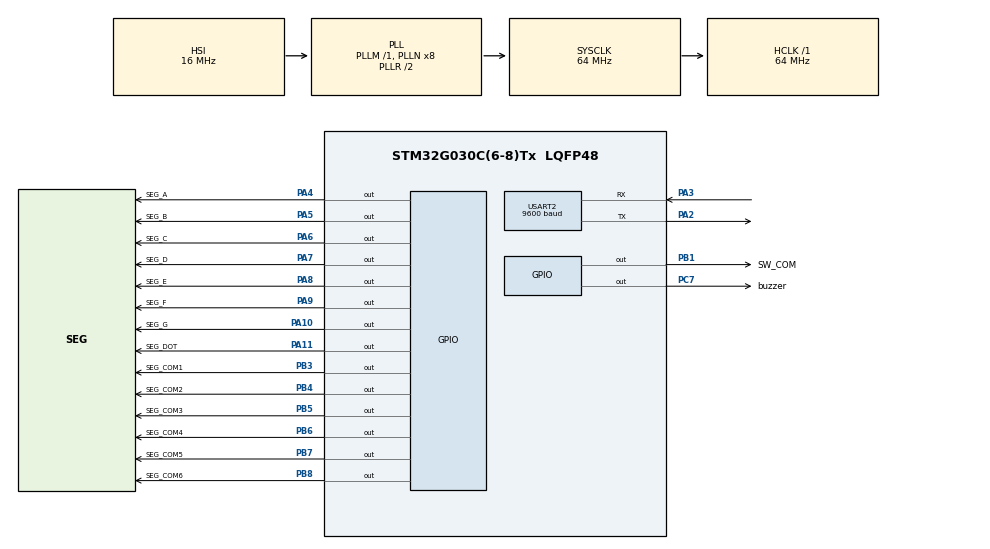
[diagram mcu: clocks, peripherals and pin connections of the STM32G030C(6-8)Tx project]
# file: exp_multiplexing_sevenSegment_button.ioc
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Mcu.Family=STM32G0
Mcu.Name=STM32G030C(6-8)Tx
Mcu.Package=LQFP48
NVIC.TIM14_IRQn=true\:0\:0\:false\:false\:true\:true\:true\:true
NVIC.TIM16_IRQn=true\:0\:0\:false\:false\:true\:true\:true\:true
NVIC.TIM3_IRQn=true\:0\:0\:false\:false\:true\:true\:true\:true
NVIC.USART2_IRQn=true\:0\:0\:false\:false\:true\:true\:true\:true
PA10.GPIO_Label=SEG_G
PA10.GPIO_PuPd=GPIO_NOPULL
PA10.Signal=GPIO_Output
PA11\ [PA9].GPIO_Label=SEG_DOT
PA11\ [PA9].GPIO_PuPd=GPIO_NOPULL
PA11\ [PA9].Signal=GPIO_Output
PA13.GPIO_Label=T_JTMS
PA13.Mode=Serial_Wire
PA13.Signal=SYS_SWDIO
PA14-BOOT0.GPIO_Label=T_JTCK
PA14-BOOT0.Mode=Serial_Wire
PA14-BOOT0.Signal=SYS_SWCLK
PA2.GPIO_PuPd=GPIO_PULLUP
PA2.Mode=Asynchronous
PA2.Signal=USART2_TX
PA3.GPIO_PuPd=GPIO_PULLUP
PA3.Mode=Asynchronous
PA3.Signal=USART2_RX
PA4.GPIO_Label=SEG_A
PA4.GPIO_PuPd=GPIO_NOPULL
PA4.Signal=GPIO_Output
PA5.GPIO_Label=SEG_B
PA5.GPIO_PuPd=GPIO_NOPULL
PA5.Signal=GPIO_Output
PA6.GPIO_Label=SEG_C
PA6.GPIO_PuPd=GPIO_NOPULL
PA6.Signal=GPIO_Output
PA7.GPIO_Label=SEG_D
PA7.GPIO_PuPd=GPIO_NOPULL
PA7.Signal=GPIO_Output
PA8.GPIO_Label=SEG_E
PA8.GPIO_PuPd=GPIO_NOPULL
PA8.Signal=GPIO_Output
PA9.GPIO_Label=SEG_F
PA9.GPIO_PuPd=GPIO_NOPULL
PA9.Signal=GPIO_Output
PB1.GPIO_Label=SW_COM
PB1.Signal=GPIO_Output
PB3.GPIO_Label=SEG_COM1
PB3.GPIO_PuPd=GPIO_NOPULL
PB3.Signal=GPIO_Output
PB4.GPIO_Label=SEG_COM2
PB4.GPIO_PuPd=GPIO_NOPULL
PB4.Signal=GPIO_Output
PB5.GPIO_Label=SEG_COM3
PB5.GPIO_PuPd=GPIO_NOPULL
PB5.Signal=GPIO_Output
PB6.GPIO_Label=SEG_COM4
PB6.GPIO_PuPd=GPIO_NOPULL
PB6.Signal=GPIO_Output
PB7.GPIO_Label=SEG_COM5
PB7.GPIO_PuPd=GPIO_NOPULL
PB7.Signal=GPIO_Output
PB8.GPIO_Label=SEG_COM6
PB8.GPIO_PuPd=GPIO_NOPULL
PB8.Signal=GPIO_Output
PC7.GPIO_Label=buzzer
PC7.GPIO_PuPd=GPIO_NOPULL
PC7.PinState=GPIO_PIN_RESET
PC7.Signal=GPIO_Output
ProjectManager.HeapSize=0x200
ProjectManager.StackSize=0x400
ProjectManager.TargetToolchain=STM32CubeIDE
RCC.ADCFreq_Value=64000000
RCC.AHBFreq_Value=64000000
RCC.CortexFreq_Value=64000000
RCC.EXTERNAL_CLOCK_VALUE=12288000
RCC.FLatency=FLASH_LATENCY_2
RCC.HCLKFreq_Value=64000000
RCC.HSE_VALUE=8000000
RCC.HSI_VALUE=16000000
RCC.LSE_VALUE=32768
RCC.SYSCLKFreq_VALUE=64000000
RCC.SYSCLKSource=RCC_SYSCLKSOURCE_PLLCLK
RCC.VCOOutputFreq_Value=128000000
TIM1.AutoReloadPreload=TIM_AUTORELOAD_PRELOAD_DISABLE
TIM1.ClockDivision=TIM_CLOCKDIVISION_DIV1
TIM1.CounterMode=TIM_COUNTERMODE_UP
TIM1.Period=65535
TIM1.Prescaler=64-1
TIM1.RepetitionCounter=0
TIM1.TIM_MasterOutputTrigger=TIM_TRGO_RESET
TIM1.TIM_MasterOutputTrigger2=TIM_TRGO2_RESET
TIM1.TIM_MasterSlaveMode=TIM_MASTERSLAVEMODE_DISABLE
TIM14.AutoReloadPreload=TIM_AUTORELOAD_PRELOAD_DISABLE
TIM14.ClockDivision=TIM_CLOCKDIVISION_DIV1
TIM14.CounterMode=TIM_COUNTERMODE_UP
TIM14.Period=1000
TIM14.Prescaler=64000-1
TIM16.Period=1
TIM16.Prescaler=64000-1
TIM3.Period=15000
TIM3.Prescaler=64000-1
USART2.BaudRate=9600
USART2.ClockPrescaler=PRESCALER_DIV1
USART2.DMADisableonRxErrorParam=ADVFEATURE_DMA_ENABLEONRXERROR
USART2.DataInvertParam=ADVFEATURE_DATAINV_DISABLE
USART2.MSBFirstParam=ADVFEATURE_MSBFIRST_DISABLE
USART2.Mode=MODE_TX_RX
USART2.OneBitSampling=UART_ONE_BIT_SAMPLE_DISABLE
USART2.OverSampling=UART_OVERSAMPLING_16
USART2.OverrunDisableParam=ADVFEATURE_OVERRUN_ENABLE
USART2.Parity=PARITY_NONE
USART2.RxPinLevelInvertParam=ADVFEATURE_RXINV_DISABLE
USART2.StopBits=STOPBITS_1
USART2.SwapParam=ADVFEATURE_SWAP_DISABLE
USART2.TxPinLevelInvertParam=ADVFEATURE_TXINV_DISABLE
USART2.VirtualMode-Asynchronous=VM_ASYNC
USART2.WordLength=WORDLENGTH_8B
VP_TIM14_VS_ClockSourceINT.Mode=Enable_Timer
VP_TIM16_VS_ClockSourceINT.Mode=Enable_Timer
VP_TIM1_VS_ClockSourceINT.Mode=Internal
VP_TIM3_VS_ClockSourceINT.Mode=Internal
board=NUCLEO-G031K8

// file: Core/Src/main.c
/* USER CODE BEGIN Header */
/**
  ******************************************************************************
  * @file           : main.c
  * @brief          : Main program body
  ******************************************************************************
  * @attention
  *
  * Copyright (c) 2024 STMicroelectronics.
  * All rights reserved.
  *
  * This software is licensed under terms that can be found in the LICENSE file
  * in the root directory of this software component.
  * If no LICENSE file comes with this software, it is provided AS-IS.
  *
  ******************************************************************************
  */
/* USER CODE END Header */
#include "main.h"

/* USER CODE BEGIN Includes */
#include "seven_segment.h"
/* USER CODE END Includes */

/* USER CODE BEGIN PTD */

// Button PTD
typedef struct{
	uint8_t readState;
	uint8_t currentState;
	uint8_t lastState;
	uint32_t lastDebounceTime;
} button_t;

// Button state for controlling system state
typedef struct{
	bool startCooking;
	bool startWarming;
	bool selectMenu;
	bool enableChangeTime;
	bool incrementHour;
	bool incrementMinute;
}buttonState_t;

// System state
typedef struct{
	bool isCooking;					// Cooking state
	bool isWarming;					// Warming state
	bool isChangeTime;				// State for configuring time (preset timer and schedule timer)
	uint8_t currentMenu;			// Current menu selection to determine the preset of timer and temperature
} systemState_t;

// System Timer variables
typedef struct{
	// Placed in the interrupt callback
	volatile uint32_t testCounter;
	uint32_t newCookingTimer;			// Temporary Timer for adjusted preset timer
} systemTimer_t;
/* USER CODE END PTD */

TIM_HandleTypeDef htim1;
TIM_HandleTypeDef htim3;
TIM_HandleTypeDef htim14;
TIM_HandleTypeDef htim16;

UART_HandleTypeDef huart2;

/* USER CODE BEGIN PV */
const uint8_t _msgHalo[4] 	= {0x68, 0x61, 0x6C, 0x6F};						// Greeting message
const uint8_t _msgDone[4]	= {0x64, 0x6F, 0x6E, 0x65};						// Finished cooking message

buttonState_t buttonState 	= {false, false, false, false, false, false};
systemState_t systemState	= {false, false, false, false};
systemTimer_t systemTimer	= {false, false};

/* USER CODE END PV */

void SystemClock_Config(void);
static void MX_GPIO_Init(void);
static void MX_TIM1_Init(void);
static void MX_USART2_UART_Init(void);
static void MX_TIM14_Init(void);
static void MX_TIM16_Init(void);
static void MX_TIM3_Init(void);
/* USER CODE BEGIN PFP */
void enableDisplay(void);
void enableButton(button_t *inputBT);
void controlButtonState(button_t *inputBT, uint32_t debounceDelay, bool *returnState);
/* USER CODE END PFP */

/* USER CODE BEGIN 0 */

/**
 *	@brief	Blinking function for LEDs
 *	#param
 *		switchDelay		a struct that holds switching variables
 *		debounceDelay	time to delay
 *	@retval None
***/
void intervalSwitching(switching_delay_t *switchDelay, uint32_t debounceDelay)
{
	if(HAL_GetTick() - switchDelay->lastTime > debounceDelay){
		switchDelay->lastTime = HAL_GetTick();
		switchDelay->_state = !switchDelay->_state;
	}
}

void enableDisplay(void)
{
	// Turn off switch selector
	COM_SW_OFF;

	// Initialize the Seven Segment pins as the Output Pin
	GPIO_InitTypeDef GPIO_InitStruct = {0};
	/*Configure GPIO pins : SEG_A_Pin SEG_B_Pin SEG_C_Pin SEG_D_Pin SEG_E_Pin SEG_F_Pin SEG_G_Pin SEG_DOT_Pin */
	GPIO_InitStruct.Pin = SEG_A_Pin|SEG_B_Pin|SEG_C_Pin|SEG_D_Pin|SEG_E_Pin|SEG_F_Pin|SEG_G_Pin|SEG_DOT_Pin;
	GPIO_InitStruct.Mode = GPIO_MODE_OUTPUT_PP;
	GPIO_InitStruct.Pull = GPIO_NOPULL;
	GPIO_InitStruct.Speed = GPIO_SPEED_FREQ_LOW;
	HAL_GPIO_Init(GPIOA, &GPIO_InitStruct);
}

void enableButton(button_t *inputBT)
{
	// Turn off Display COMs
	blankDisplay();

	// Initialize the Seven Segment pins as the Input Pin
	GPIO_InitTypeDef GPIO_InitStruct = {0};
	/*Configure GPIO pins : SW_COM_Pin sw_schedule_cook_Pin sw_white_rice_Pin sw_red_rice_Pin */
	GPIO_InitStruct.Pin = SEG_A_Pin|SEG_B_Pin|SEG_C_Pin|SEG_D_Pin|SEG_E_Pin|SEG_F_Pin|SEG_G_Pin|SEG_DOT_Pin;
	GPIO_InitStruct.Mode = GPIO_MODE_INPUT;
	GPIO_InitStruct.Pull = GPIO_PULLUP;
	HAL_GPIO_Init(GPIOA, &GPIO_InitStruct);
	COM_SW_ON;

	// Read Button State
	inputBT[0].readState	= HAL_GPIO_ReadPin(SEG_A_GPIO_Port, SEG_A_Pin);
	inputBT[1].readState	= HAL_GPIO_ReadPin(SEG_B_GPIO_Port, SEG_B_Pin);
	inputBT[2].readState 	= HAL_GPIO_ReadPin(SEG_C_GPIO_Port, SEG_C_Pin);
	inputBT[3].readState	= HAL_GPIO_ReadPin(SEG_D_GPIO_Port, SEG_D_Pin);
	inputBT[4].readState 	= HAL_GPIO_ReadPin(SEG_E_GPIO_Port, SEG_E_Pin);
	inputBT[5].readState 	= HAL_GPIO_ReadPin(SEG_F_GPIO_Port, SEG_F_Pin);

	// Read button state
	controlButtonState(&inputBT[0], BUTTON_DEBOUNCE_DELAY, &buttonState.startWarming);
	controlButtonState(&inputBT[1], BUTTON_DEBOUNCE_DELAY, &buttonState.startCooking);
	controlButtonState(&inputBT[2], BUTTON_DEBOUNCE_DELAY, &buttonState.enableChangeTime);
	controlButtonState(&inputBT[3], BUTTON_DEBOUNCE_DELAY, &buttonState.selectMenu);
	controlButtonState(&inputBT[4], BUTTON_DEBOUNCE_DELAY, &buttonState.incrementHour);
	controlButtonState(&inputBT[5], BUTTON_DEBOUNCE_DELAY, &buttonState.incrementMinute);

	// Control System State
	if(buttonState.enableChangeTime){
		systemState.isChangeTime = !systemState.isChangeTime;
		buttonState.enableChangeTime = false;
	}
	// Start Cooking mode State
	else if(buttonState.startCooking){
		systemState.isCooking			= true;
		systemState.isWarming			= false;
		buttonState.startCooking		= false;
	}
	// Start Cooking mode State
	else if(buttonState.startWarming){
		if(systemState.isCooking){
			systemState.isCooking = false;
		}
		else if(systemState.isWarming){
			systemState.isWarming = false;
		}
		else{
			systemState.isWarming = true;
		}
		buttonState.startWarming		= false;
	}
	// Change menus
	else if(buttonState.selectMenu){
		if(systemState.currentMenu < 9){
			systemState.currentMenu += 1;
		}
		else{
			systemState.currentMenu = 0;
		}
		buttonState.selectMenu = false;
	}

	// Adjust Preset Timer for Adjustable Mode Only
	if(systemState.isChangeTime){
		systemState.isCooking 	= false;
		systemState.isWarming 	= false;

		if(buttonState.incrementHour){
			systemTimer.newCookingTimer		+= 3600;
			buttonState.incrementHour 		= false;
		}

		if(buttonState.incrementMinute){
			systemTimer.newCookingTimer		+= 300;
			buttonState.incrementMinute 	= false;
		}
	}

	for(uint8_t i=0; i<6; i++){
		inputBT[i].lastState = inputBT[i].readState;
	}
}

/**
 * @brief Control the button state
 * @param
 * 		button				Struct of button's state
 * 		debounceDelay		button delay read
 * 		returnState			State to change when the button is pressed
 * @retval None
**/
void controlButtonState(button_t *inputBT, uint32_t debounceDelay, bool *returnState)
{
	// Ignoring noise or accidentally pressed
	if(inputBT->currentState != inputBT->lastState)
		inputBT->lastDebounceTime = HAL_GetTick();

	// Read the actual state from the button
	if((HAL_GetTick() - inputBT->lastDebounceTime) > debounceDelay){
		if(inputBT->readState != inputBT->currentState){
			inputBT->currentState = inputBT->readState;
			if(inputBT->currentState == GPIO_PIN_RESET){
				*returnState = true;
			}
		}
	}
}

/**
 * @brief Elapsed timer callback
 * @param:
 * 		htim	Timer peripheral
 * @retval None
**/
void HAL_TIM_PeriodElapsedCallback(TIM_HandleTypeDef *htim)
{
	if(htim->Instance == htim14.Instance)
	{
		systemTimer.testCounter += 1;
	}
}
/* USER CODE END 0 */

int main(void)
{
  /* USER CODE BEGIN 1 */

	// Button variables
	button_t bt_startWarming	= {GPIO_PIN_SET, GPIO_PIN_SET, GPIO_PIN_SET, 0};
	button_t bt_startCooking	= {GPIO_PIN_SET, GPIO_PIN_SET, GPIO_PIN_SET, 0};
	button_t bt_selectMenu		= {GPIO_PIN_SET, GPIO_PIN_SET, GPIO_PIN_SET, 0};
	button_t bt_enChangeTime 	= {GPIO_PIN_SET, GPIO_PIN_SET, GPIO_PIN_SET, 0};
	button_t bt_changeHour		= {GPIO_PIN_SET, GPIO_PIN_SET, GPIO_PIN_SET, 0};
	button_t bt_changeMinute	= {GPIO_PIN_SET, GPIO_PIN_SET, GPIO_PIN_SET, 0};
	button_t arrButtons[6] = {bt_startWarming, bt_startCooking, bt_enChangeTime, bt_selectMenu, bt_changeHour, bt_changeMinute};
  /* USER CODE END 1 */

  /* MCU Configuration--------------------------------------------------------*/

  /* Reset of all peripherals, Initializes the Flash interface and the Systick. */
  HAL_Init();

  /* Configure the system clock */
  SystemClock_Config();

  /* Initialize all configured peripherals */
  MX_GPIO_Init();
  MX_TIM1_Init();
  MX_USART2_UART_Init();
  MX_TIM14_Init();
  MX_TIM16_Init();
  MX_TIM3_Init();
  /* USER CODE BEGIN 2 */

  // Start Timer
  HAL_TIM_Base_Start(&htim1);						// Start timer 1 for delay_Us function
  HAL_TIM_Base_Start_IT(&htim14);					// Timer counter
  displayText(_msgHalo, 200);
  /* USER CODE END 2 */

  /* Infinite loop */
  /* USER CODE BEGIN WHILE */
  while (1)
  {
	  enableDisplay();
	  displayTimer(systemTimer.testCounter, true, true);
	  enableButton(arrButtons);
    /* USER CODE END WHILE */

  }
}

void SystemClock_Config(void)
{
  RCC_OscInitTypeDef RCC_OscInitStruct = {0};
  RCC_ClkInitTypeDef RCC_ClkInitStruct = {0};

  /** Configure the main internal regulator output voltage
  */
  HAL_PWREx_ControlVoltageScaling(PWR_REGULATOR_VOLTAGE_SCALE1);

  /** Initializes the RCC Oscillators according to the specified parameters
  * in the RCC_OscInitTypeDef structure.
  */
  RCC_OscInitStruct.OscillatorType = RCC_OSCILLATORTYPE_HSI;
  RCC_OscInitStruct.HSIState = RCC_HSI_ON;
  RCC_OscInitStruct.HSIDiv = RCC_HSI_DIV1;
  RCC_OscInitStruct.HSICalibrationValue = RCC_HSICALIBRATION_DEFAULT;
  RCC_OscInitStruct.PLL.PLLState = RCC_PLL_ON;
  RCC_OscInitStruct.PLL.PLLSource = RCC_PLLSOURCE_HSI;
  RCC_OscInitStruct.PLL.PLLM = RCC_PLLM_DIV1;
  RCC_OscInitStruct.PLL.PLLN = 8;
  RCC_OscInitStruct.PLL.PLLP = RCC_PLLP_DIV2;
  RCC_OscInitStruct.PLL.PLLR = RCC_PLLR_DIV2;
  if (HAL_RCC_OscConfig(&RCC_OscInitStruct) != HAL_OK)
  {
    Error_Handler();
  }

  /** Initializes the CPU, AHB and APB buses clocks
  */
  RCC_ClkInitStruct.ClockType = RCC_CLOCKTYPE_HCLK|RCC_CLOCKTYPE_SYSCLK
                              |RCC_CLOCKTYPE_PCLK1;
  RCC_ClkInitStruct.SYSCLKSource = RCC_SYSCLKSOURCE_PLLCLK;
  RCC_ClkInitStruct.AHBCLKDivider = RCC_SYSCLK_DIV1;
  RCC_ClkInitStruct.APB1CLKDivider = RCC_HCLK_DIV1;

  if (HAL_RCC_ClockConfig(&RCC_ClkInitStruct, FLASH_LATENCY_2) != HAL_OK)
  {
    Error_Handler();
  }
}

static void MX_TIM1_Init(void)
{

  TIM_ClockConfigTypeDef sClockSourceConfig = {0};
  TIM_MasterConfigTypeDef sMasterConfig = {0};

  htim1.Instance = TIM1;
  htim1.Init.Prescaler = 64-1;
  htim1.Init.CounterMode = TIM_COUNTERMODE_UP;
  htim1.Init.Period = 65535;
  htim1.Init.ClockDivision = TIM_CLOCKDIVISION_DIV1;
  htim1.Init.RepetitionCounter = 0;
  htim1.Init.AutoReloadPreload = TIM_AUTORELOAD_PRELOAD_DISABLE;
  if (HAL_TIM_Base_Init(&htim1) != HAL_OK)
  {
    Error_Handler();
  }
  sClockSourceConfig.ClockSource = TIM_CLOCKSOURCE_INTERNAL;
  if (HAL_TIM_ConfigClockSource(&htim1, &sClockSourceConfig) != HAL_OK)
  {
    Error_Handler();
  }
  sMasterConfig.MasterOutputTrigger = TIM_TRGO_RESET;
  sMasterConfig.MasterOutputTrigger2 = TIM_TRGO2_RESET;
  sMasterConfig.MasterSlaveMode = TIM_MASTERSLAVEMODE_DISABLE;
  if (HAL_TIMEx_MasterConfigSynchronization(&htim1, &sMasterConfig) != HAL_OK)
  {
    Error_Handler();
  }

}

static void MX_TIM3_Init(void)
{

  TIM_ClockConfigTypeDef sClockSourceConfig = {0};
  TIM_MasterConfigTypeDef sMasterConfig = {0};

  htim3.Instance = TIM3;
  htim3.Init.Prescaler = 64000-1;
  htim3.Init.CounterMode = TIM_COUNTERMODE_UP;
  htim3.Init.Period = 15000;
  htim3.Init.ClockDivision = TIM_CLOCKDIVISION_DIV1;
  htim3.Init.AutoReloadPreload = TIM_AUTORELOAD_PRELOAD_DISABLE;
  if (HAL_TIM_Base_Init(&htim3) != HAL_OK)
  {
    Error_Handler();
  }
  sClockSourceConfig.ClockSource = TIM_CLOCKSOURCE_INTERNAL;
  if (HAL_TIM_ConfigClockSource(&htim3, &sClockSourceConfig) != HAL_OK)
  {
    Error_Handler();
  }
  sMasterConfig.MasterOutputTrigger = TIM_TRGO_RESET;
  sMasterConfig.MasterSlaveMode = TIM_MASTERSLAVEMODE_DISABLE;
  if (HAL_TIMEx_MasterConfigSynchronization(&htim3, &sMasterConfig) != HAL_OK)
  {
    Error_Handler();
  }

}

static void MX_TIM14_Init(void)
{

  htim14.Instance = TIM14;
  htim14.Init.Prescaler = 64000-1;
  htim14.Init.CounterMode = TIM_COUNTERMODE_UP;
  htim14.Init.Period = 1000;
  htim14.Init.ClockDivision = TIM_CLOCKDIVISION_DIV1;
  htim14.Init.AutoReloadPreload = TIM_AUTORELOAD_PRELOAD_DISABLE;
  if (HAL_TIM_Base_Init(&htim14) != HAL_OK)
  {
    Error_Handler();
  }

}

static void MX_TIM16_Init(void)
{

  htim16.Instance = TIM16;
  htim16.Init.Prescaler = 64000-1;
  htim16.Init.CounterMode = TIM_COUNTERMODE_UP;
  htim16.Init.Period = 1;
  htim16.Init.ClockDivision = TIM_CLOCKDIVISION_DIV1;
  htim16.Init.RepetitionCounter = 0;
  htim16.Init.AutoReloadPreload = TIM_AUTORELOAD_PRELOAD_DISABLE;
  if (HAL_TIM_Base_Init(&htim16) != HAL_OK)
  {
    Error_Handler();
  }

}

static void MX_USART2_UART_Init(void)
{

  huart2.Instance = USART2;
  huart2.Init.BaudRate = 9600;
  huart2.Init.WordLength = UART_WORDLENGTH_8B;
  huart2.Init.StopBits = UART_STOPBITS_1;
  huart2.Init.Parity = UART_PARITY_NONE;
  huart2.Init.Mode = UART_MODE_TX_RX;
  huart2.Init.HwFlowCtl = UART_HWCONTROL_NONE;
  huart2.Init.OverSampling = UART_OVERSAMPLING_16;
  huart2.Init.OneBitSampling = UART_ONE_BIT_SAMPLE_DISABLE;
  huart2.Init.ClockPrescaler = UART_PRESCALER_DIV1;
  huart2.AdvancedInit.AdvFeatureInit = UART_ADVFEATURE_NO_INIT;
  if (HAL_UART_Init(&huart2) != HAL_OK)
  {
    Error_Handler();
  }

}

static void MX_GPIO_Init(void)
{
  GPIO_InitTypeDef GPIO_InitStruct = {0};

  /* GPIO Ports Clock Enable */
  __HAL_RCC_GPIOA_CLK_ENABLE();
  __HAL_RCC_GPIOB_CLK_ENABLE();
  __HAL_RCC_GPIOC_CLK_ENABLE();

  /*Configure GPIO pin Output Level */
  HAL_GPIO_WritePin(GPIOA, SEG_A_Pin|SEG_B_Pin|SEG_C_Pin|SEG_D_Pin
                          |SEG_E_Pin|SEG_F_Pin|SEG_G_Pin|SEG_DOT_Pin, GPIO_PIN_RESET);

  /*Configure GPIO pin Output Level */
  HAL_GPIO_WritePin(GPIOB, SW_COM_Pin|SEG_COM1_Pin|SEG_COM2_Pin|SEG_COM3_Pin
                          |SEG_COM4_Pin|SEG_COM5_Pin|SEG_COM6_Pin, GPIO_PIN_RESET);

  /*Configure GPIO pin Output Level */
  HAL_GPIO_WritePin(buzzer_GPIO_Port, buzzer_Pin, GPIO_PIN_RESET);

  /*Configure GPIO pins : SEG_A_Pin SEG_B_Pin SEG_C_Pin SEG_D_Pin
                           SEG_E_Pin SEG_F_Pin SEG_G_Pin SEG_DOT_Pin */
  GPIO_InitStruct.Pin = SEG_A_Pin|SEG_B_Pin|SEG_C_Pin|SEG_D_Pin
                          |SEG_E_Pin|SEG_F_Pin|SEG_G_Pin|SEG_DOT_Pin;
  GPIO_InitStruct.Mode = GPIO_MODE_OUTPUT_PP;
  GPIO_InitStruct.Pull = GPIO_NOPULL;
  GPIO_InitStruct.Speed = GPIO_SPEED_FREQ_LOW;
  HAL_GPIO_Init(GPIOA, &GPIO_InitStruct);

  /*Configure GPIO pins : SW_COM_Pin SEG_COM1_Pin SEG_COM2_Pin SEG_COM3_Pin
                           SEG_COM4_Pin SEG_COM5_Pin SEG_COM6_Pin */
  GPIO_InitStruct.Pin = SW_COM_Pin|SEG_COM1_Pin|SEG_COM2_Pin|SEG_COM3_Pin
                          |SEG_COM4_Pin|SEG_COM5_Pin|SEG_COM6_Pin;
  GPIO_InitStruct.Mode = GPIO_MODE_OUTPUT_PP;
  GPIO_InitStruct.Pull = GPIO_NOPULL;
  GPIO_InitStruct.Speed = GPIO_SPEED_FREQ_LOW;
  HAL_GPIO_Init(GPIOB, &GPIO_InitStruct);

  /*Configure GPIO pin : buzzer_Pin */
  GPIO_InitStruct.Pin = buzzer_Pin;
  GPIO_InitStruct.Mode = GPIO_MODE_OUTPUT_PP;
  GPIO_InitStruct.Pull = GPIO_NOPULL;
  GPIO_InitStruct.Speed = GPIO_SPEED_FREQ_LOW;
  HAL_GPIO_Init(buzzer_GPIO_Port, &GPIO_InitStruct);

}

/* USER CODE BEGIN 4 */

/**
 *	@brief	Non-blocking Delay in Microseconds
 *	@retval None
***/
void delay_us (uint16_t us)
{
	__HAL_TIM_SET_COUNTER(&htim1,0);  					// set the counter value a 0
	while (__HAL_TIM_GET_COUNTER(&htim1) < us);  // wait for the counter to reach the us input in the parameter
}
/* USER CODE END 4 */

void Error_Handler(void)
{
  __disable_irq();
  while (1)
  {
  }
}
